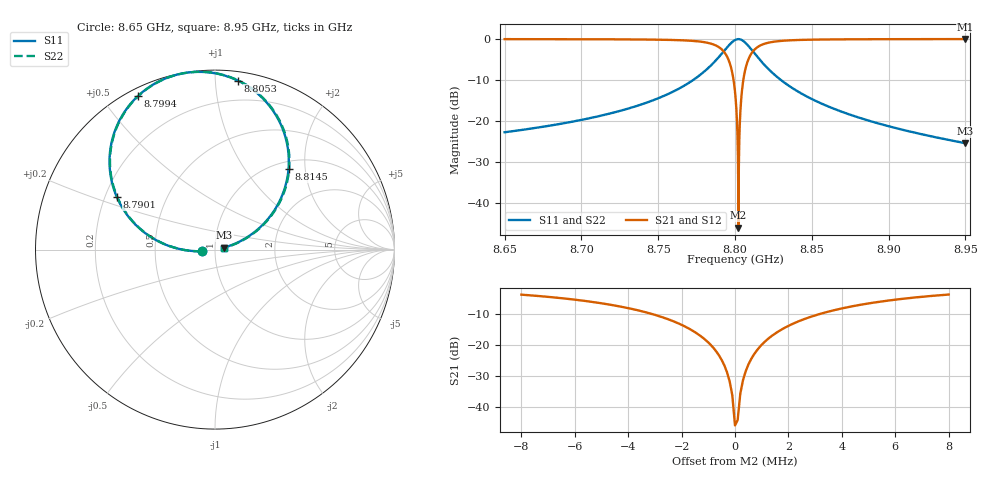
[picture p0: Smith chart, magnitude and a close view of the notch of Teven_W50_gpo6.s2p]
! Sonnet Data File
! From: emgraph Version : 16.52
! From Project: transmon_trial
! Data is De-embedded
! Data File Written: 10/20/2017 09:13:07
!< HDATE 10/19/2017 20:03:37
!< MDATE 10/19/2017 20:10:25
!< PARAMS
!< Lj = 15.24
!< Gap = 6.0
!< Width = 50.0
!< Airgap = 30.0
!< Pwidth = 2000.0
!< END PARAMS
# GHZ S MA R 51.00000
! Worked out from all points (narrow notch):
!   3001 points, 8.65 GHz to 8.95 GHz, reference 51 ohm
!   highest |S21| = -0.01 dB at 8.95 GHz (marker M1); lowest = -46.0 dB at 8.8022 GHz (marker M2)
!   notch at M2: 46.0 dB deep, 1.35 MHz wide at half that depth
!   lowest |S11| = -25.4 dB at 8.95 GHz (marker M3), VSWR 1.11, Z = 56.6 + j1.32 ohm
!   |S11| at or under -10 dB: start of sweep to 8.7728 GHz; 8.8299 GHz to end of sweep
!   |S22| runs from -25.4 to 0.0 dB; largest |S21 - S12| = 0
!   S11 on the Smith chart (normalised r, x): 8.65 GHz: 0.86, -0.02; 8.7901 GHz: 0.25, +0.24; 8.7994 GHz: 0.03, +0.62; 8.8053 GHz: 0.06, +1.14; 8.8145 GHz: 1.15, +1.63; 8.95 GHz: 1.11, +0.03
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8.65  0.07288 -173.0  0.9973 -82.8  0.9973 -82.8  0.07288 -172.6
!< P1 F=8.65 Eeff=(6.43962691 -3.1336e-5) Z0=(50.4019059 1.05256e-4) R=0.0 C=0.0
!< P2 F=8.65 Eeff=(6.43962691 -3.1336e-5) Z0=(50.4019059 1.05256e-4) R=0.0 C=0.0
8.7  0.1031 -175.1  0.9947 -85.0  0.9947 -85.0  0.1031 -174.9
8.75  0.1893 179.6  0.9819 -90.4  0.9819 -90.4  0.1893 179.5
8.7774  0.3663 168.8  0.9303 -101.2  0.9303 -101.2  0.3663 168.6
8.7847  0.4838 161.3  0.8747 -108.8  0.8747 -108.8  0.4838 161.1
8.7901  0.6216 151.8  0.7825 -118.3  0.7825 -118.3  0.6216 151.5
8.796  0.8368 133.3  0.5452 -136.7  0.5452 -136.7  0.8368 132.9
8.7979  0.9091 124.6  0.4129 -145.3  0.4129 -145.3  0.9091 124.3
8.7994  0.9568 116.8  0.285 -153.0  0.285 -153.0  0.9568 116.4
8.8  0.9717 113.4  0.2286 -156.3  0.2286 -156.3  0.9717 113.1
8.8011  0.9911 107.0  0.119 -162.3  0.119 -162.3  0.9911 106.7
8.8022  0.9981 100.5  0.004999 -148.0  0.004999 -148.0  0.9981 100.1
8.8033  0.9921 93.9  0.1102 2.7  0.1102 2.7  0.9921 93.5
8.8042  0.9777 88.6  0.2013 -2.1  0.2013 -2.1  0.9777 88.2
8.8053  0.9502 82.3  0.3061 -8.2  0.3061 -8.2  0.9502 82.0
8.8088  0.8206 65.4  0.5693 -24.9  0.5693 -24.9  0.8206 65.1
8.8145  0.6077 47.6  0.7933 -42.7  0.7933 -42.7  0.6077 47.2
8.8199  0.467 38.0  0.8838 -52.3  0.8838 -52.3  0.467 37.5
8.8268  0.3527 30.7  0.9355 -59.6  0.9355 -59.6  0.3527 30.2
8.85  0.1854 20.6  0.9826 -69.7  0.9826 -69.7  0.1854 19.9
8.9  0.08638 14.6  0.9962 -75.9  0.9962 -75.9  0.08638 13.6
8.95  0.05366 12.5  0.9985 -78.3  0.9985 -78.3  0.05366 11.0
